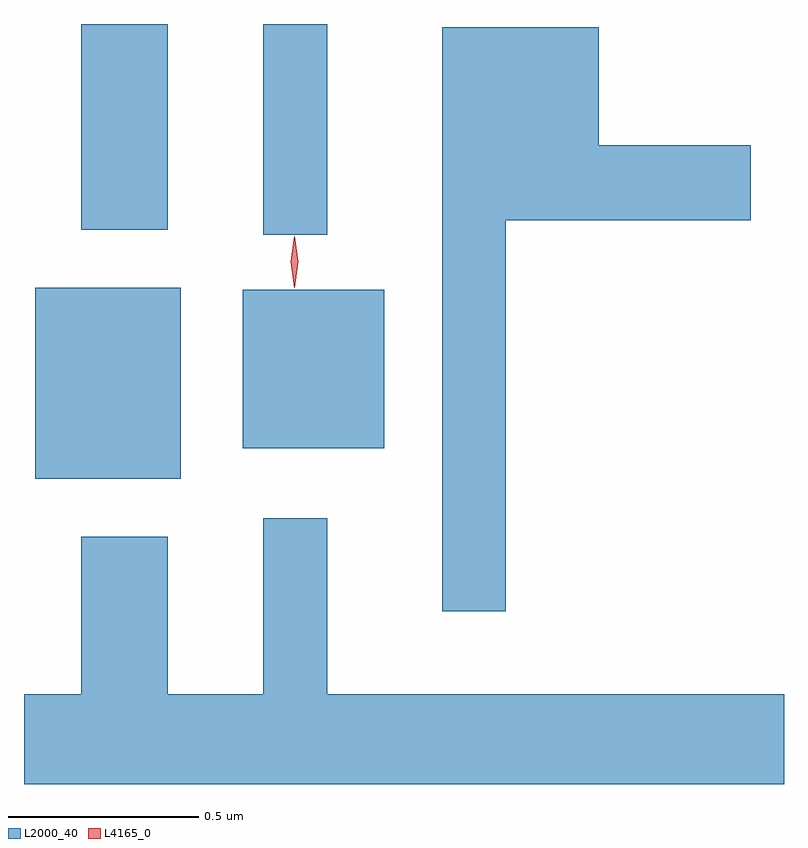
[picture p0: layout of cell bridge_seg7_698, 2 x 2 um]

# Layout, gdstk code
import gdstk
lib = gdstk.Library(unit=1e-6, precision=1e-09)
def R(c, l, rs):  # rectangles x0, y0, x1, y1
    for r in rs: c.add(gdstk.rectangle(r[:2], r[2:], *l))
def P(c, l, *ps):  # polygons
    for p in ps: c.add(gdstk.Polygon(p, *l))
L2000_40 = (2000, 40)
L4165_0 = (4165, 0)

bridge_seg7_698 = lib.new_cell('bridge_seg7_698')
R(bridge_seg7_698, L2000_40, [(963.261,1672.971,963.644,1673.474), (963.806,1673.051,964.179,1673.469), (963.861,1673.613,964.029,1674.168), (963.381,1673.626,963.609,1674.168)])
P(bridge_seg7_698, L2000_40, [(964.499,1673.651),(965.144,1673.651),(965.144,1673.849),(964.744,1673.849),(964.744,1674.159),(964.331,1674.159),(964.331,1672.623),(964.499,1672.623)],
  [(965.231,1672.404),(964.029,1672.404),(964.029,1672.868),(963.861,1672.868),(963.861,1672.404),(963.609,1672.404),(963.609,1672.819),(963.381,1672.819),(963.381,1672.404),(963.231,1672.404),(963.231,1672.168),(965.231,1672.168)])
P(bridge_seg7_698, L4165_0, [(963.942,1673.474),(963.933,1673.542),(963.942,1673.61),(963.943,1673.61),(963.943,1673.61),(963.953,1673.542),(963.943,1673.474),(963.943,1673.474)],
  [(963.942,1673.478),(963.933,1673.542),(963.942,1673.607),(963.943,1673.607),(963.943,1673.607),(963.953,1673.542),(963.943,1673.478),(963.943,1673.478)])

lib.write_gds('bridge_seg7_698.gds')
